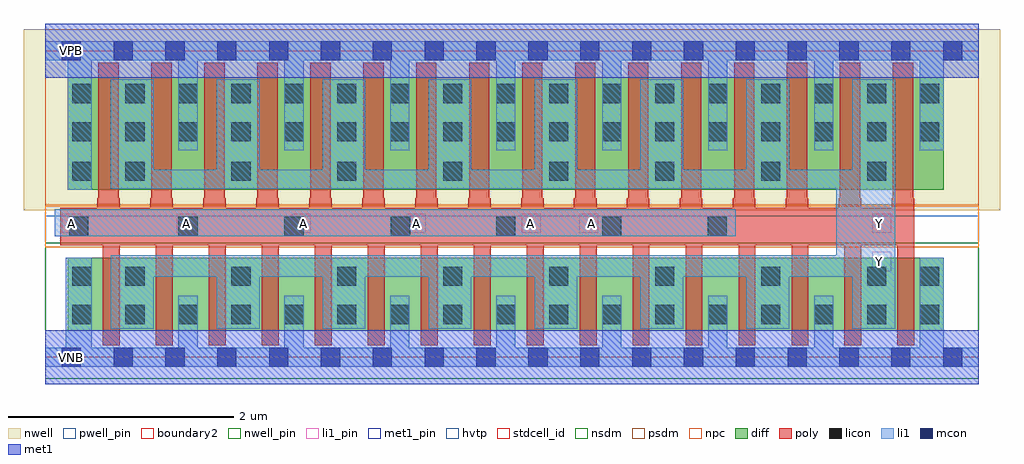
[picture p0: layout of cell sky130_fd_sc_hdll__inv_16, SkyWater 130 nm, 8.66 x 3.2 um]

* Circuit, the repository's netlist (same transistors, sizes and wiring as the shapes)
* Copyright 2020 The SkyWater PDK Authors
*
* Licensed under the Apache License, Version 2.0 (the "License");
* you may not use this file except in compliance with the License.
* You may obtain a copy of the License at
*
*     https://www.apache.org/licenses/LICENSE-2.0
*
* Unless required by applicable law or agreed to in writing, software
* distributed under the License is distributed on an "AS IS" BASIS,
* WITHOUT WARRANTIES OR CONDITIONS OF ANY KIND, either express or implied.
* See the License for the specific language governing permissions and
* limitations under the License.
*
* SPDX-License-Identifier: Apache-2.0

.SUBCKT sky130_fd_sc_hdll__inv_16 A VGND VNB VPB VPWR Y
*.PININFO A:I VGND:I VNB:I VPB:I VPWR:I Y:O
MMIN1 Y A VGND VNB sky130_fd_pr__nfet_01v8 m=16 w=0.65U l=0.15U mult=1 sa=0.265
+ sb=0.265 sd=0.28 area=0.063 perim=1.14
MMIP1 Y A VPWR VPB sky130_fd_pr__pfet_01v8_hvt m=16 w=1.0U l=0.18U mult=1 sa=0.265
+ sb=0.265 sd=0.28 area=0.063 perim=1.14
.ENDS sky130_fd_sc_hdll__inv_16

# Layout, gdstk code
import gdstk
lib = gdstk.Library(unit=1e-6, precision=1e-09)
def R(c, l, rs):  # rectangles x0, y0, x1, y1
    for r in rs: c.add(gdstk.rectangle(r[:2], r[2:], *l))
def A(c, l, x, y, w, h, nx, ny, dx, dy):  # array of equal rectangles
    R(c, l, [(x+i*dx, y+j*dy, x+i*dx+w, y+j*dy+h) for i in range(nx) for j in range(ny)])
def P(c, l, *ps):  # polygons
    for p in ps: c.add(gdstk.Polygon(p, *l))
nwell_pin = (64, 16)
nwell = (64, 20)
diff = (65, 20)
poly = (66, 20)
licon = (66, 44)
li1_pin = (67, 16)
li1 = (67, 20)
mcon = (67, 44)
met1_pin = (68, 16)
met1 = (68, 20)
hvtp = (78, 44)
stdcell_id = (81, 4)
nsdm = (93, 44)
psdm = (94, 20)
npc = (95, 20)
pwell_pin = (122, 16)
boundary2 = (236, 0)

sky130_fd_sc_hdll__inv_1 = lib.new_cell('sky130_fd_sc_hdll__inv_16')
R(sky130_fd_sc_hdll__inv_1, nwell_pin, [(0.145,2.635,0.315,2.805)])
R(sky130_fd_sc_hdll__inv_1, nwell, [(-0.19,1.305,8.47,2.91)])
R(sky130_fd_sc_hdll__inv_1, diff, [(0.2,0.235,7.97,0.885), (0.2,1.485,7.97,2.485)])
P(sky130_fd_sc_hdll__inv_1, poly, [(7.71,1.41),(7.7,1.41),(7.7,2.615),(7.52,2.615),(7.52,1.41),(7.51,1.41),(7.51,1.325),(7.24,1.325),(7.24,1.41),(7.23,1.41),(7.23,2.615),(7.05,2.615),(7.05,1.41),(7.04,1.41),(7.04,1.325),(6.77,1.325),(6.77,1.41),(6.76,1.41),(6.76,2.615),(6.58,2.615),(6.58,1.41),(6.57,1.41),(6.57,1.325),(6.3,1.325),(6.3,1.41),(6.29,1.41),(6.29,2.615),(6.11,2.615),(6.11,1.41),(6.1,1.41),(6.1,1.325),(5.83,1.325),(5.83,1.41),(5.82,1.41),(5.82,2.615),(5.64,2.615),(5.64,1.41),(5.63,1.41),(5.63,1.325),(5.36,1.325),(5.36,1.41),(5.35,1.41),(5.35,2.615),(5.17,2.615),(5.17,1.41),(5.16,1.41),(5.16,1.325),(4.89,1.325),(4.89,1.41),(4.88,1.41),(4.88,2.615),(4.7,2.615),(4.7,1.41),(4.69,1.41),(4.69,1.325),(4.42,1.325),(4.42,1.41),(4.41,1.41),(4.41,2.615),(4.23,2.615),(4.23,1.41),(4.22,1.41),(4.22,1.325),(3.95,1.325),(3.95,1.41),(3.94,1.41),(3.94,2.615),(3.76,2.615),(3.76,1.41),(3.75,1.41),(3.75,1.325),(3.48,1.325),(3.48,1.41),(3.47,1.41),(3.47,2.615),(3.29,2.615),(3.29,1.41),(3.28,1.41),(3.28,1.325),(3.01,1.325),(3.01,1.41),(3,1.41),(3,2.615),(2.82,2.615),(2.82,1.41),(2.81,1.41),(2.81,1.325),(2.54,1.325),(2.54,1.41),(2.53,1.41),(2.53,2.615),(2.35,2.615),(2.35,1.41),(2.34,1.41),(2.34,1.325),(2.07,1.325),(2.07,1.41),(2.06,1.41),(2.06,2.615),(1.88,2.615),(1.88,1.41),(1.87,1.41),(1.87,1.325),(1.6,1.325),(1.6,1.41),(1.59,1.41),(1.59,2.615),(1.41,2.615),(1.41,1.41),(1.4,1.41),(1.4,1.325),(1.13,1.325),(1.13,1.41),(1.12,1.41),(1.12,2.615),(0.94,2.615),(0.94,1.41),(0.93,1.41),(0.93,1.325),(0.66,1.325),(0.66,1.41),(0.65,1.41),(0.65,2.615),(0.47,2.615),(0.47,1.41),(0.46,1.41),(0.46,1.325),(0.13,1.325),(0.13,0.995),(0.51,0.995),(0.51,0.105),(0.66,0.105),(0.66,0.995),(0.98,0.995),(0.98,0.105),(1.13,0.105),(1.13,0.995),(1.45,0.995),(1.45,0.105),(1.6,0.105),(1.6,0.995),(1.92,0.995),(1.92,0.105),(2.07,0.105),(2.07,0.995),(2.39,0.995),(2.39,0.105),(2.54,0.105),(2.54,0.995),(2.86,0.995),(2.86,0.105),(3.01,0.105),(3.01,0.995),(3.33,0.995),(3.33,0.105),(3.48,0.105),(3.48,0.995),(3.8,0.995),(3.8,0.105),(3.95,0.105),(3.95,0.995),(4.27,0.995),(4.27,0.105),(4.42,0.105),(4.42,0.995),(4.74,0.995),(4.74,0.105),(4.89,0.105),(4.89,0.995),(5.21,0.995),(5.21,0.105),(5.36,0.105),(5.36,0.995),(5.68,0.995),(5.68,0.105),(5.83,0.105),(5.83,0.995),(6.15,0.995),(6.15,0.105),(6.3,0.105),(6.3,0.995),(6.62,0.995),(6.62,0.105),(6.77,0.105),(6.77,0.995),(7.09,0.995),(7.09,0.105),(7.24,0.105),(7.24,0.995),(7.56,0.995),(7.56,0.105),(7.71,0.105)])
A(sky130_fd_sc_hdll__inv_1, licon, 0.24, 0.295, 0.17, 0.17, 17, 2, 0.47, 1.62)
A(sky130_fd_sc_hdll__inv_1, licon, 0.71, 0.635, 0.17, 0.17, 8, 2, 0.94, 0.93)
A(sky130_fd_sc_hdll__inv_1, licon, 0.24, 2.255, 0.17, 0.17, 17, 1, 0.47, 0)
R(sky130_fd_sc_hdll__inv_1, licon, [(0.24,0.635,0.41,0.805), (7.76,0.635,7.93,0.805), (0.21,1.075,0.38,1.245), (1.18,1.075,1.35,1.245), (2.12,1.075,2.29,1.245), (3.065,1.075,3.235,1.245), (4,1.075,4.17,1.245), (4.94,1.075,5.11,1.245), (5.875,1.075,6.045,1.245), (0.24,1.565,0.41,1.735)])
A(sky130_fd_sc_hdll__inv_1, li1_pin, 0.145, 1.105, 0.17, 0.17, 5, 1, 1.02, 0)
R(sky130_fd_sc_hdll__inv_1, li1_pin, [(7.335,0.765,7.505,0.935), (4.735,1.105,4.905,1.275), (7.335,1.105,7.505,1.275)])
R(sky130_fd_sc_hdll__inv_1, li1, [(0.085,1.075,6.125,1.315)])
P(sky130_fd_sc_hdll__inv_1, li1, [(7.54,2.465),(7.16,2.465),(7.16,1.665),(6.6,1.665),(6.6,2.465),(6.22,2.465),(6.22,1.665),(5.66,1.665),(5.66,2.465),(5.28,2.465),(5.28,1.665),(4.72,1.665),(4.72,2.465),(4.34,2.465),(4.34,1.665),(3.78,1.665),(3.78,2.465),(3.4,2.465),(3.4,1.665),(2.84,1.665),(2.84,2.465),(2.46,2.465),(2.46,1.665),(1.9,1.665),(1.9,2.465),(1.52,2.465),(1.52,1.665),(0.96,1.665),(0.96,2.465),(0.58,2.465),(0.58,1.495),(7.015,1.495),(7.015,0.905),(0.58,0.905),(0.58,0.255),(0.96,0.255),(0.96,0.715),(1.52,0.715),(1.52,0.255),(1.9,0.255),(1.9,0.715),(2.46,0.715),(2.46,0.255),(2.84,0.255),(2.84,0.715),(3.4,0.715),(3.4,0.255),(3.78,0.255),(3.78,0.715),(4.34,0.715),(4.34,0.255),(4.72,0.255),(4.72,0.715),(5.28,0.715),(5.28,0.255),(5.66,0.255),(5.66,0.715),(6.22,0.715),(6.22,0.255),(6.6,0.255),(6.6,0.715),(7.16,0.715),(7.16,0.255),(7.54,0.255)],
  [(8.28,0.085),(7.97,0.085),(7.97,0.885),(7.76,0.885),(7.76,0.085),(6.99,0.085),(6.99,0.545),(6.82,0.545),(6.82,0.085),(6.05,0.085),(6.05,0.545),(5.88,0.545),(5.88,0.085),(5.11,0.085),(5.11,0.545),(4.94,0.545),(4.94,0.085),(4.17,0.085),(4.17,0.545),(4,0.545),(4,0.085),(3.23,0.085),(3.23,0.545),(3.06,0.545),(3.06,0.085),(2.29,0.085),(2.29,0.545),(2.12,0.545),(2.12,0.085),(1.35,0.085),(1.35,0.545),(1.18,0.545),(1.18,0.085),(0.41,0.085),(0.41,0.885),(0.18,0.885),(0.18,0.085),(0,0.085),(0,-0.085),(8.28,-0.085)],
  [(8.28,2.805),(0,2.805),(0,2.635),(0.2,2.635),(0.2,1.485),(0.41,1.485),(0.41,2.635),(1.18,2.635),(1.18,1.835),(1.35,1.835),(1.35,2.635),(2.12,2.635),(2.12,1.835),(2.29,1.835),(2.29,2.635),(3.06,2.635),(3.06,1.835),(3.23,1.835),(3.23,2.635),(4,2.635),(4,1.835),(4.17,1.835),(4.17,2.635),(4.94,2.635),(4.94,1.835),(5.11,1.835),(5.11,2.635),(5.88,2.635),(5.88,1.835),(6.05,1.835),(6.05,2.635),(6.82,2.635),(6.82,1.835),(6.99,1.835),(6.99,2.635),(7.76,2.635),(7.76,1.835),(7.97,1.835),(7.97,2.635),(8.28,2.635)])
A(sky130_fd_sc_hdll__inv_1, mcon, 0.145, -0.085, 0.17, 0.17, 18, 2, 0.46, 2.72)
R(sky130_fd_sc_hdll__inv_1, met1_pin, [(0.145,-0.085,0.315,0.085), (0.145,2.635,0.315,2.805)])
R(sky130_fd_sc_hdll__inv_1, met1, [(0,-0.24,8.28,0.24), (0,2.48,8.28,2.96)])
R(sky130_fd_sc_hdll__inv_1, hvtp, [(0,1.25,8.28,2.72)])
R(sky130_fd_sc_hdll__inv_1, stdcell_id, [(0,0,8.28,2.72)])
R(sky130_fd_sc_hdll__inv_1, nsdm, [(0,-0.19,8.28,1.015)])
R(sky130_fd_sc_hdll__inv_1, psdm, [(0,1.355,8.28,2.91)])
R(sky130_fd_sc_hdll__inv_1, npc, [(0,0.975,8.28,1.345)])
R(sky130_fd_sc_hdll__inv_1, pwell_pin, [(0.145,-0.085,0.315,0.085)])
R(sky130_fd_sc_hdll__inv_1, boundary2, [(0,0,8.28,2.72)])
sky130_fd_sc_hdll__inv_1.add(gdstk.Label('Y', (7.405,1.19), layer=67, texttype=5))
sky130_fd_sc_hdll__inv_1.add(gdstk.Label('Y', (7.405,0.85), layer=67, texttype=5))
sky130_fd_sc_hdll__inv_1.add(gdstk.Label('A', (0.23,1.19), layer=67, texttype=5))
sky130_fd_sc_hdll__inv_1.add(gdstk.Label('A', (1.255,1.19), layer=67, texttype=5))
sky130_fd_sc_hdll__inv_1.add(gdstk.Label('A', (2.29,1.19), layer=67, texttype=5))
sky130_fd_sc_hdll__inv_1.add(gdstk.Label('A', (3.295,1.19), layer=67, texttype=5))
sky130_fd_sc_hdll__inv_1.add(gdstk.Label('A', (4.3,1.19), layer=67, texttype=5))
sky130_fd_sc_hdll__inv_1.add(gdstk.Label('A', (4.845,1.19), layer=67, texttype=5))
sky130_fd_sc_hdll__inv_1.add(gdstk.Label('VPB', (0.23,2.72), layer=64, texttype=5))
sky130_fd_sc_hdll__inv_1.add(gdstk.Label('VNB', (0.23,0), layer=64, texttype=59))
sky130_fd_sc_hdll__inv_1.add(gdstk.Label('VGND', (0.23,0), layer=68, texttype=5))
sky130_fd_sc_hdll__inv_1.add(gdstk.Label('VPWR', (0.23,2.72), layer=68, texttype=5))
sky130_fd_sc_hdll__inv_1.add(gdstk.Label('inv_16', (0,0), layer=83, texttype=44))

lib.write_gds('sky130_fd_sc_hdll__inv_16.gds')
